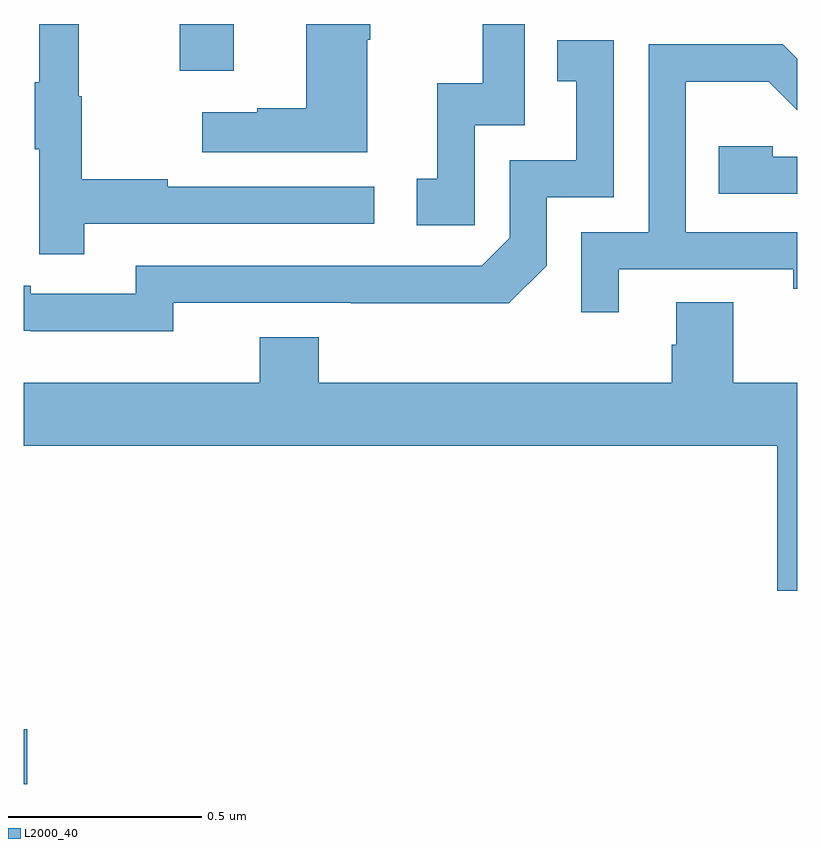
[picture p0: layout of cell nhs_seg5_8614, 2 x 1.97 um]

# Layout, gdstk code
import gdstk
lib = gdstk.Library(unit=1e-6, precision=1e-09)
def R(c, l, rs):  # rectangles x0, y0, x1, y1
    for r in rs: c.add(gdstk.rectangle(r[:2], r[2:], *l))
def P(c, l, *ps):  # polygons
    for p in ps: c.add(gdstk.Polygon(p, *l))
L2000_40 = (2000, 40)

nhs_seg5_8614 = lib.new_cell('nhs_seg5_8614')
R(nhs_seg5_8614, L2000_40, [(223,907.834,223.009,907.976), (223.403,909.678,223.543,909.799)])
P(nhs_seg5_8614, L2000_40, [(224.166,909.537),(224.295,909.537),(224.295,909.799),(224.187,909.799),(224.187,909.646),(224.069,909.646),(224.069,909.399),(224.016,909.399),(224.016,909.279),(224.166,909.279)],
  [(223.888,909.758),(223.896,909.758),(223.896,909.799),(223.73,909.799),(223.73,909.581),(223.604,909.581),(223.604,909.571),(223.461,909.571),(223.461,909.467),(223.888,909.467)],
  [(223.157,909.282),(223.906,909.282),(223.906,909.378),(223.373,909.378),(223.373,909.398),(223.15,909.398),(223.15,909.612),(223.142,909.612),(223.142,909.799),(223.04,909.799),(223.04,909.649),(223.029,909.649),(223.029,909.475),(223.04,909.475),(223.04,909.204),(223.157,909.204)],
  [(223.386,909.078),(223.846,909.078),(223.846,909.077),(224.254,909.077),(224.352,909.174),(224.352,909.351),(224.526,909.351),(224.526,909.757),(224.38,909.757),(224.38,909.651),(224.429,909.651),(224.429,909.447),(224.256,909.447),(224.256,909.246),(224.184,909.174),(223.29,909.174),(223.29,909.102),(223.018,909.102),(223.018,909.122),(223,909.122),(223,909.006),(223.018,909.006),(223.018,909.005),(223.386,909.005)],
  [(224.539,909.165),(224.99,909.165),(224.99,909.114),(225,909.114),(225,909.261),(224.712,909.261),(224.712,909.65),(224.926,909.65),(225,909.576),(225,909.709),(224.962,909.747),(224.616,909.747),(224.616,909.261),(224.442,909.261),(224.442,909.054),(224.539,909.054)],
  [(225,909.456),(224.937,909.456),(224.937,909.483),(224.797,909.483),(224.797,909.36),(225,909.36)],
  [(225,908.872),(224.835,908.872),(224.835,909.08),(224.687,909.08),(224.687,908.97),(224.675,908.97),(224.675,908.872),(223.763,908.872),(223.763,908.989),(223.61,908.989),(223.61,908.872),(223,908.872),(223,908.708),(224.948,908.708),(224.948,908.334),(225,908.334)])

lib.write_gds('nhs_seg5_8614.gds')
